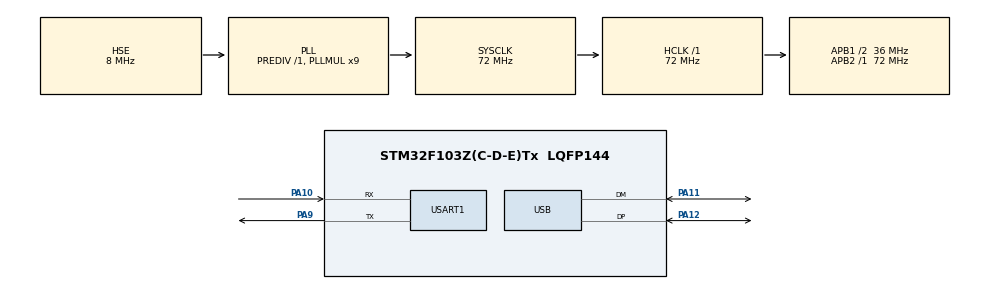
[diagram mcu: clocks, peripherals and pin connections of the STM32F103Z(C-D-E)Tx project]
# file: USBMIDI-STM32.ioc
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Dma.Request0=USART1_RX
Dma.Request1=USART1_TX
Dma.USART1_RX.0.Direction=DMA_PERIPH_TO_MEMORY
Dma.USART1_RX.0.Instance=DMA1_Channel5
Dma.USART1_RX.0.MemDataAlignment=DMA_MDATAALIGN_BYTE
Dma.USART1_RX.0.MemInc=DMA_MINC_ENABLE
Dma.USART1_RX.0.Mode=DMA_NORMAL
Dma.USART1_RX.0.PeriphDataAlignment=DMA_PDATAALIGN_BYTE
Dma.USART1_RX.0.PeriphInc=DMA_PINC_DISABLE
Dma.USART1_RX.0.Priority=DMA_PRIORITY_LOW
Dma.USART1_TX.1.Direction=DMA_MEMORY_TO_PERIPH
Dma.USART1_TX.1.Instance=DMA1_Channel4
Dma.USART1_TX.1.MemDataAlignment=DMA_MDATAALIGN_BYTE
Dma.USART1_TX.1.MemInc=DMA_MINC_ENABLE
Dma.USART1_TX.1.Mode=DMA_NORMAL
Dma.USART1_TX.1.PeriphDataAlignment=DMA_PDATAALIGN_BYTE
Dma.USART1_TX.1.PeriphInc=DMA_PINC_DISABLE
Dma.USART1_TX.1.Priority=DMA_PRIORITY_LOW
FREERTOS.Tasks01=main,24,256,mainTask,Default,NULL,Dynamic,NULL,NULL
Mcu.Family=STM32F1
Mcu.Name=STM32F103Z(C-D-E)Tx
Mcu.Package=LQFP144
NVIC.DMA1_Channel4_IRQn=true\:5\:0\:false\:false\:true\:true\:false\:true
NVIC.DMA1_Channel5_IRQn=true\:5\:0\:false\:false\:true\:true\:false\:true
NVIC.PriorityGroup=NVIC_PRIORITYGROUP_4
NVIC.USART1_IRQn=true\:5\:0\:false\:false\:true\:true\:true\:true
NVIC.USB_LP_CAN1_RX0_IRQn=true\:5\:0\:false\:false\:true\:true\:false\:true
OSC_IN.Mode=HSE-External-Oscillator
OSC_IN.Signal=RCC_OSC_IN
OSC_OUT.Mode=HSE-External-Oscillator
OSC_OUT.Signal=RCC_OSC_OUT
PA10.Mode=Asynchronous
PA10.Signal=USART1_RX
PA11.Mode=Device
PA11.Signal=USB_DM
PA12.Mode=Device
PA12.Signal=USB_DP
PA13.Mode=Trace_Asynchronous_SW
PA13.Signal=SYS_JTMS-SWDIO
PA14.Mode=Trace_Asynchronous_SW
PA14.Signal=SYS_JTCK-SWCLK
PA9.Mode=Asynchronous
PA9.Signal=USART1_TX
PB3.Mode=Trace_Asynchronous_SW
PB3.Signal=SYS_JTDO-TRACESWO
ProjectManager.HeapSize=0x200
ProjectManager.StackSize=0x400
ProjectManager.TargetToolchain=Makefile
RCC.AHBFreq_Value=72000000
RCC.APB1CLKDivider=RCC_HCLK_DIV2
RCC.APB1Freq_Value=36000000
RCC.APB1TimFreq_Value=72000000
RCC.APB2Freq_Value=72000000
RCC.APB2TimFreq_Value=72000000
RCC.HCLKFreq_Value=72000000
RCC.PLLMUL=RCC_PLL_MUL9
RCC.SYSCLKFreq_VALUE=72000000
RCC.SYSCLKSource=RCC_SYSCLKSOURCE_PLLCLK
RCC.USBFreq_Value=48000000
RCC.USBPrescaler=RCC_USBCLKSOURCE_PLL_DIV1_5
USART1.VirtualMode=VM_ASYNC
USB_DEVICE.CLASS_NAME_FS=CDC
USB_DEVICE.CONFIGURATION_STRING_CDC_FS=MIDI Config
USB_DEVICE.INTERFACE_STRING_CDC_FS=MIDI Interface
USB_DEVICE.LANGID_STRING=1041
USB_DEVICE.MANUFACTURER_STRING=Keshinomi-Lab
USB_DEVICE.PID_CDC_FS=0x0001
USB_DEVICE.PRODUCT_STRING_CDC_FS=USBMIDI Controller
USB_DEVICE.VID=0x1209
USB_DEVICE.VirtualMode=Cdc
USB_DEVICE.VirtualModeFS=Cdc_FS
VP_FREERTOS_VS_CMSIS_V2.Mode=CMSIS_V2
VP_USB_DEVICE_VS_USB_DEVICE_CDC_FS.Mode=CDC_FS
board=custom

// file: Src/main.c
/* USER CODE BEGIN Header */
/**
  ******************************************************************************
  * @file           : main.c
  * @brief          : Main program body
  ******************************************************************************
  * @attention
  *
  * <h2><center>&copy; Copyright (c) 2020 STMicroelectronics.
  * All rights reserved.</center></h2>
  *
  * This software component is licensed by ST under Ultimate Liberty license
  * SLA0044, the "License"; You may not use this file except in compliance with
  * the License. You may obtain a copy of the License at:
  *                             www.st.com/SLA0044
  *
  ******************************************************************************
  */
/* USER CODE END Header */

#include "main.h"
#include "cmsis_os.h"
#include "usb_device.h"

/* USER CODE BEGIN Includes */
#include "stdio.h"
#include "stm32f103xe.h"
/* USER CODE END Includes */

UART_HandleTypeDef huart1;
DMA_HandleTypeDef hdma_usart1_rx;
DMA_HandleTypeDef hdma_usart1_tx;

/* Definitions for main */
osThreadId_t mainHandle;
const osThreadAttr_t main_attributes = {
  .name = "main",
  .priority = (osPriority_t) osPriorityNormal,
  .stack_size = 256 * 4
};

void SystemClock_Config(void);
static void MX_GPIO_Init(void);
static void MX_DMA_Init(void);
static void MX_USART1_UART_Init(void);
void mainTask(void *argument);

/* USER CODE BEGIN 0 */
#if defined(__GNUC__)
int _write(int fd, char * ptr, int len)
{
  HAL_UART_Transmit(&huart1, (uint8_t *) ptr, len, HAL_MAX_DELAY);
  return len;
}
#elif defined (__ICCARM__)
#include "LowLevelIOInterface.h"
size_t __write(int handle, const unsigned char * buffer, size_t size)
{
  HAL_UART_Transmit(&huart1, (uint8_t *) buffer, size, HAL_MAX_DELAY);
  return size;
}
#elif defined (__CC_ARM)
int fputc(int ch, FILE *f)
{
    HAL_UART_Transmit(&huart1, (uint8_t *)&ch, 1, HAL_MAX_DELAY);
    return ch;
}
#endif

#ifdef __GNUC__
  /* With GCC, small printf (option LD Linker->Libraries->Small printf
     set to 'Yes') calls __io_putchar() */
  #define PUTCHAR_PROTOTYPE int __io_putchar(int ch)
#else
  #define PUTCHAR_PROTOTYPE int fputc(int ch, FILE *f)
#endif /* __GNUC__ */

PUTCHAR_PROTOTYPE
{
  /* Place your implementation of fputc here */
  /* e.g. write a character to the EVAL_COM1 and Loop until the end of transmission */
  HAL_UART_Transmit_DMA(&huart1, (uint8_t *)&ch, 1);
  return ch;
}
/* USER CODE END 0 */

int main(void)
{

  /* MCU Configuration--------------------------------------------------------*/

  /* Reset of all peripherals, Initializes the Flash interface and the Systick. */
  HAL_Init();

  /* Configure the system clock */
  SystemClock_Config();

  /* Initialize all configured peripherals */
  MX_GPIO_Init();
  MX_DMA_Init();
  MX_USART1_UART_Init();

  /* Init scheduler */
  osKernelInitialize();

  /* Create the thread(s) */
  /* creation of main */
  mainHandle = osThreadNew(mainTask, NULL, &main_attributes);

  /* Start scheduler */
  osKernelStart();

  /* We should never get here as control is now taken by the scheduler */
  /* Infinite loop */
  while (1)
  {

  }
}

void SystemClock_Config(void)
{
  RCC_OscInitTypeDef RCC_OscInitStruct = {0};
  RCC_ClkInitTypeDef RCC_ClkInitStruct = {0};
  RCC_PeriphCLKInitTypeDef PeriphClkInit = {0};

  /** Initializes the CPU, AHB and APB busses clocks
  */
  RCC_OscInitStruct.OscillatorType = RCC_OSCILLATORTYPE_HSE;
  RCC_OscInitStruct.HSEState = RCC_HSE_ON;
  RCC_OscInitStruct.HSEPredivValue = RCC_HSE_PREDIV_DIV1;
  RCC_OscInitStruct.HSIState = RCC_HSI_ON;
  RCC_OscInitStruct.PLL.PLLState = RCC_PLL_ON;
  RCC_OscInitStruct.PLL.PLLSource = RCC_PLLSOURCE_HSE;
  RCC_OscInitStruct.PLL.PLLMUL = RCC_PLL_MUL9;
  if (HAL_RCC_OscConfig(&RCC_OscInitStruct) != HAL_OK)
  {
    Error_Handler();
  }
  /** Initializes the CPU, AHB and APB busses clocks
  */
  RCC_ClkInitStruct.ClockType = RCC_CLOCKTYPE_HCLK|RCC_CLOCKTYPE_SYSCLK
                              |RCC_CLOCKTYPE_PCLK1|RCC_CLOCKTYPE_PCLK2;
  RCC_ClkInitStruct.SYSCLKSource = RCC_SYSCLKSOURCE_PLLCLK;
  RCC_ClkInitStruct.AHBCLKDivider = RCC_SYSCLK_DIV1;
  RCC_ClkInitStruct.APB1CLKDivider = RCC_HCLK_DIV2;
  RCC_ClkInitStruct.APB2CLKDivider = RCC_HCLK_DIV1;

  if (HAL_RCC_ClockConfig(&RCC_ClkInitStruct, FLASH_LATENCY_2) != HAL_OK)
  {
    Error_Handler();
  }
  PeriphClkInit.PeriphClockSelection = RCC_PERIPHCLK_USB;
  PeriphClkInit.UsbClockSelection = RCC_USBCLKSOURCE_PLL_DIV1_5;
  if (HAL_RCCEx_PeriphCLKConfig(&PeriphClkInit) != HAL_OK)
  {
    Error_Handler();
  }
}

static void MX_USART1_UART_Init(void)
{

  huart1.Instance = USART1;
  huart1.Init.BaudRate = 115200;
  huart1.Init.WordLength = UART_WORDLENGTH_8B;
  huart1.Init.StopBits = UART_STOPBITS_1;
  huart1.Init.Parity = UART_PARITY_NONE;
  huart1.Init.Mode = UART_MODE_TX_RX;
  huart1.Init.HwFlowCtl = UART_HWCONTROL_NONE;
  huart1.Init.OverSampling = UART_OVERSAMPLING_16;
  if (HAL_UART_Init(&huart1) != HAL_OK)
  {
    Error_Handler();
  }

}

static void MX_DMA_Init(void)
{

  /* DMA controller clock enable */
  __HAL_RCC_DMA1_CLK_ENABLE();

  /* DMA interrupt init */
  /* DMA1_Channel4_IRQn interrupt configuration */
  HAL_NVIC_SetPriority(DMA1_Channel4_IRQn, 5, 0);
  HAL_NVIC_EnableIRQ(DMA1_Channel4_IRQn);
  /* DMA1_Channel5_IRQn interrupt configuration */
  HAL_NVIC_SetPriority(DMA1_Channel5_IRQn, 5, 0);
  HAL_NVIC_EnableIRQ(DMA1_Channel5_IRQn);

}

static void MX_GPIO_Init(void)
{

  /* GPIO Ports Clock Enable */
  __HAL_RCC_GPIOA_CLK_ENABLE();
  __HAL_RCC_GPIOB_CLK_ENABLE();

}

void mainTask(void *argument)
{
  /* init code for USB_DEVICE */
  MX_USB_DEVICE_Init();
  /* USER CODE BEGIN 5 */
  /* Infinite loop */
  for(;;)
  {
    printf("hello world.\r\n");
    osDelay(100);
  }
  /* USER CODE END 5 */
}

void Error_Handler(void)
{
}

/************************ (C) COPYRIGHT STMicroelectronics *****END OF FILE****/
